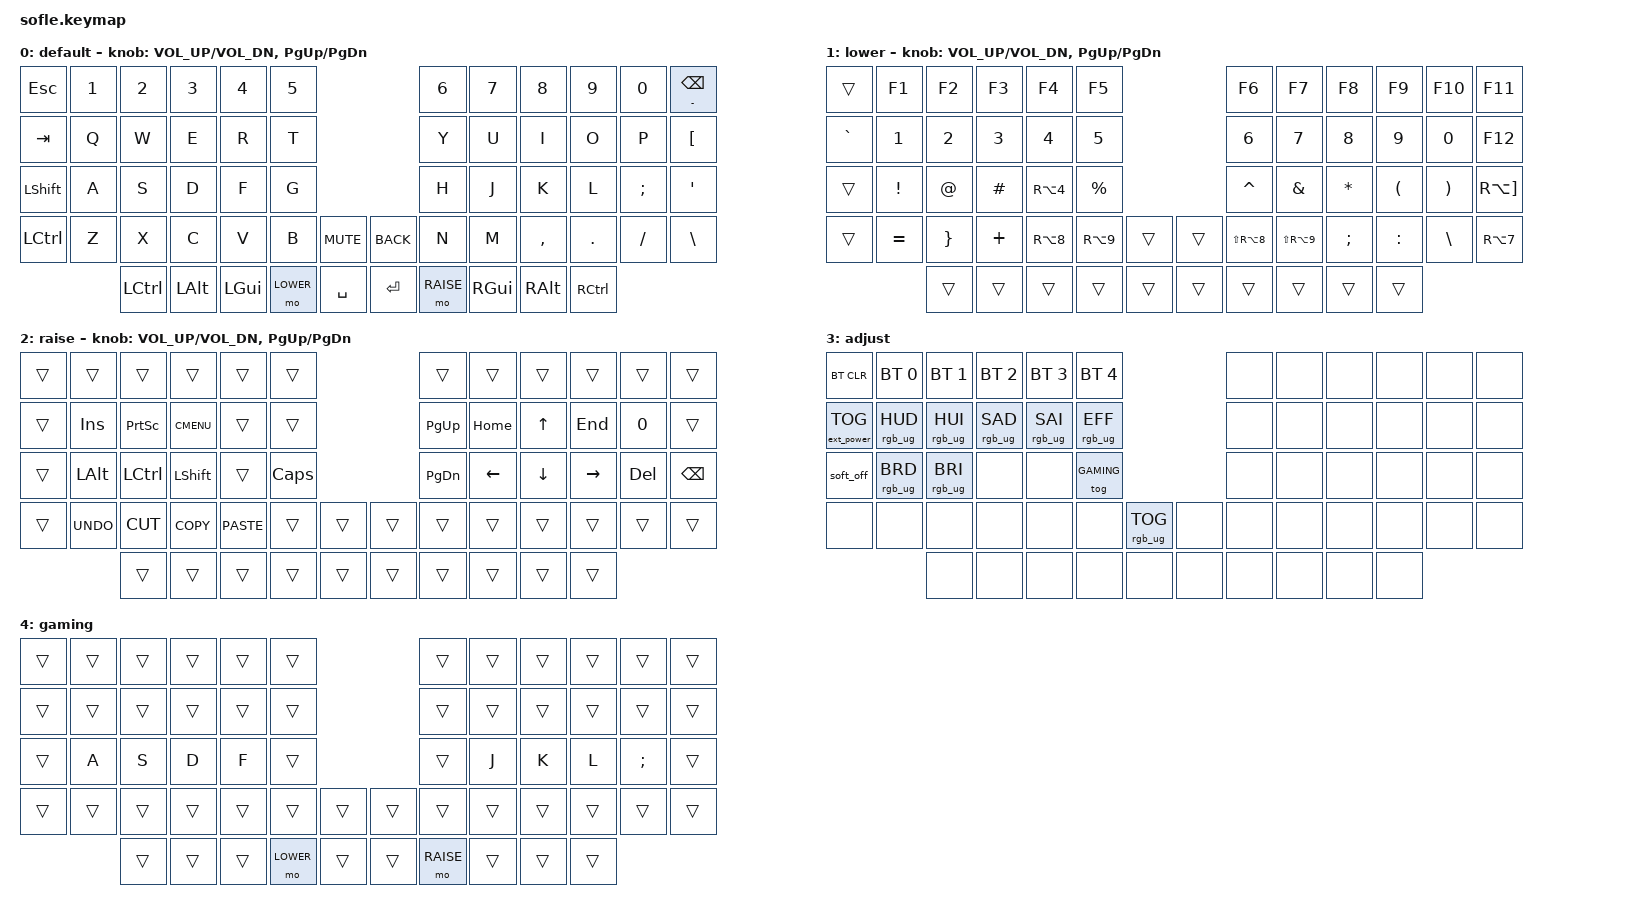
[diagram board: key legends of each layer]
/*
 * Copyright (c) 2020 The ZMK Contributors
 *
 * SPDX-License-Identifier: MIT
 */

#include <behaviors.dtsi>
#include <dt-bindings/zmk/keys.h>
#include <dt-bindings/zmk/bt.h>
#include <dt-bindings/zmk/rgb.h>
#include <dt-bindings/zmk/ext_power.h>

#define BASE 0
#define LOWER 1
#define RAISE 2
#define ADJUST 3
#define GAMING 4

#define POS_RAISE 52
#define POS_LOWER 55

/*            58 Keys Sofle v2
╭──────────────────╮     ╭──────────────────╮
│ 0  1  2  3  4  5 │     │  6  7  8  9 10 11│
│12 13 14 15 16 17 │     │ 18 19 20 21 22 23│
│24 25 26 27 28 29 │     │ 30 31 32 33 34 35│
│36 37 38 40 41 42 ╰─╮ ╭─╯ 43 44 45 46 47 48│
╰─────╮49 50 51 52 53│ │54 55 56 57 58╭─────╯
      ╰──────────────╯ ╰──────────────╯
*/

/ {

      behaviors {
        hml: home_row_mod_left {
            compatible = "zmk,behavior-hold-tap";
            #binding-cells = <2>;
            flavor = "balanced";
            require-prior-idle-ms = <0>;
            tapping-term-ms = <175>;
            quick-tap-ms = <200>;
            bindings = <&kp>, <&kp>;
            hold-trigger-key-positions = <40 41>; // List of keys on the right side of the keyboard
            hold-trigger-on-release;
        };
        hmr: home_row_mod_right {
            compatible = "zmk,behavior-hold-tap";
            #binding-cells = <2>;
            flavor = "balanced";
            require-prior-idle-ms = <0>;
            tapping-term-ms = <175>;
            quick-tap-ms = <200>;
            bindings = <&kp>, <&kp>;
            /* hold-trigger-key-positions = < ... >; // List of keys on the left side of the keyboard */
            hold-trigger-on-release;
        };
    };

   // Activate ADJUST layer by pressing raise and lower
    conditional_layers {
        compatible = "zmk,conditional-layers";
        adjust_layer {
            if-layers = <LOWER RAISE>;
            then-layer = <ADJUST>;
        };
    };


    keymap {
        compatible = "zmk,keymap";

        default_layer {
            display-name = "default";
// ------------------------------------------------------------------------------------------------------------
// | ESC   |  1  |  2  |  3  |  4  |  5    |                   |  6    |  7   |  8   |  9    |   0   |  +?   |
// | TAB   |  Q  |  W  |  E  |  R  |  T    |                   |  Y    |  U   |  I   |  O    |   P   |   Å   |
// | SHIFT |  A  |  S  |  D  |  F  |  G    |                   |  H    |  J   |  K   |  L    |   Ö   |   Ä   |
// | CTRL  |  Z  |  X  |  C  |  V  |  B    |  MUTE  |  | BACK  |  N    |  M   |  ,   |  .    |   -_  |  '*   |
//               | CTRL| ALT | GUI | LOWER |  SPACE |  | ENTER | RAISE | GUI  | ALT  | CTRL  |
            bindings = <
&kp ESC   &kp N1 &kp N2    &kp N3   &kp N4   &kp N5                            &kp N6    &kp N7   &kp N8    &kp N9    &kp  N0  &hmr MINUS BSPC
&kp TAB   &kp Q  &kp W     &kp E    &kp R    &kp T                             &kp Y     &kp U    &kp I     &kp O     &kp  P   &kp LBKT
&kp LSHFT &kp A  &kp S     &kp D    &kp F    &kp G                             &kp H     &kp J    &kp K     &kp L     &kp SEMI &kp SQT
&kp LCTRL &kp Z  &kp X     &kp C    &kp V    &kp B     &kp C_MUTE   &kp K_BACK &kp N     &kp M    &kp COMMA &kp DOT   &kp FSLH &kp  BSLH
                 &kp LCTRL &kp LALT &kp LGUI &mo LOWER &kp SPACE    &kp ENTER  &mo RAISE &kp RGUI &kp RALT  &kp RCTRL
            >;

            sensor-bindings = <&inc_dec_kp C_VOL_UP C_VOL_DN &inc_dec_kp PG_UP PG_DN>;
        };

        lower_layer {
            display-name = "lower";
// TODO: Some binds are waiting for shifted keycode support.
// ------------------------------------------------------------------------------------------------------------
// |       |  F1 |  F2 |  F3  |  F4  |  F5  |                   |  F6  |  F7   |  F8   |  F9  |  F10  |  F11  |
// |   `   |  1  |  2  |  3   |  4   |  5   |                   |  6   |  7    |  8    |  9   |   0   |  F12  |
// |       |  !  |  @  |  #   |  $   |  %   |                   |  &   |  /    |  (    |  )   |   =   |   ~   |
// |       |  ´  |  ^  |  `   |  {   |  }   |        |  |       |  [   |  ]    |  ;    |  :   |   \   |   |   |
//               |     |      |      |      |        |  |       |      |       |       |      |
            bindings = <
&trans    &kp F1    &kp F2    &kp F3   &kp F4     &kp F5                    &kp F6         &kp F7         &kp F8    &kp F9    &kp F10  &kp F11
&kp GRAVE &kp N1    &kp N2    &kp N3   &kp N4     &kp N5                    &kp N6         &kp N7         &kp N8    &kp N9    &kp N0   &kp F12
&trans    &kp EXCL  &kp AT    &kp HASH &kp RA(N4) &kp PRCNT                 &kp CARET      &kp AMPS       &kp ASTRK &kp LPAR  &kp RPAR &kp RA(RBKT)
&trans    &kp EQUAL &kp RBRC  &kp PLUS &kp RA(N8) &kp RA(N9) &trans &trans  &kp LS(RA(N8)) &kp LS(RA(N9)) &kp SEMI  &kp COLON &kp BSLH &kp RA(N7)
                    &trans    &trans   &trans     &trans     &trans &trans  &trans         &trans         &trans    &trans
            >;

            sensor-bindings = <&inc_dec_kp C_VOL_UP C_VOL_DN &inc_dec_kp PG_UP PG_DN>;
        };
        raise_layer {
            display-name = "raise";
// ------------------------------------------------------------------------------------------------------------
// | BTCLR | BT1  | BT2  |  BT3  |  BT4  |  BT5 |                |      |      |       |      |       |       |
// |       | INS  | PSCR | GUI   |       |      |                | PGUP |      |   ^   |      |       |       |
// |       | ALT  | CTRL | SHIFT |       | CAPS |                | PGDN |   <- |   v   |  ->  |  DEL  | BKSPC |
// |       | UNDO | CUT  | COPY  | PASTE |      |      |  |      |      |      |       |      |       |       |
//                |      |       |       |      |      |  |      |      |      |       |      |
            bindings = <
&trans     &trans       &trans       &trans       &trans       &trans                        &trans    &trans    &trans   &trans    &trans  &trans
&trans     &kp INS      &kp PSCRN    &kp K_CMENU  &trans       &trans                        &kp PG_UP &kp HOME  &kp UP   &kp END   &kp N0  &trans
&trans     &kp LALT     &kp LCTRL    &kp LSHFT    &trans       &kp CLCK                      &kp PG_DN &kp LEFT  &kp DOWN &kp RIGHT &kp DEL &kp BSPC
&trans     &kp K_UNDO   &kp K_CUT    &kp K_COPY   &kp K_PASTE  &trans        &trans  &trans  &trans    &trans    &trans   &trans    &trans  &trans
                        &trans       &trans       &trans       &trans        &trans  &trans  &trans    &trans    &trans   &trans
            >;

            sensor-bindings = <&inc_dec_kp C_VOL_UP C_VOL_DN &inc_dec_kp PG_UP PG_DN>;
        };

        adjust_layer {
// ----------------------------------------------------------------------------------------------------------------------------
// |        |         |         |         |         |         |                  |      |      |       |      |       |       |
// | EP_TOG | RGB_HUD | RGB_HUI | RGB_SAD | RGB_SAI | RGB_EFF |                  |      |      |       |      |       |       |
// |        | RGB_BRD | RGB_BRI |         |         | GAMING  |                  |      |      |       |      |       |       |
// |        |         |         |         |         |         | RGB_TOG | |      |      |      |       |      |       |       |
//                    |         |         |         |         |         | |      |      |      |       |      |
            display-name = "adjust";
            bindings = <
&bt        BT_CLR &bt     BT_SEL 0 &bt     BT_SEL 1 &bt     BT_SEL 2 &bt     BT_SEL 3 &bt     BT_SEL 4                        &none &none &none &none &none &none
&ext_power EP_TOG &rgb_ug RGB_HUD  &rgb_ug RGB_HUI  &rgb_ug RGB_SAD  &rgb_ug RGB_SAI  &rgb_ug RGB_EFF                         &none &none &none &none &none &none
&soft_off         &rgb_ug RGB_BRD  &rgb_ug RGB_BRI  &none            &none            &tog    GAMING                          &none &none &none &none &none &none
&none             &none            &none            &none            &none            &none            &rgb_ug RGB_TOG &none  &none &none &none &none &none &none
                                   &none            &none            &none            &none            &none           &none  &none &none &none &none
            >;
        };

        gaming_layer {
            display-name = "gaming";
// Same as Default but withut hold tap
            bindings = <
&trans &trans &trans &trans &trans &trans                 &trans &trans &trans &trans &trans   &trans
&trans &trans &trans &trans &trans &trans                 &trans &trans &trans &trans &trans   &trans
&trans &kp A  &kp S  &kp D  &kp F  &trans                 &trans &kp J  &kp K  &kp L  &kp SEMI &trans
&trans &trans &trans &trans &trans &trans &trans   &trans &trans &trans &trans &trans &trans   &trans 
              &trans &trans &trans &mo LOWER &trans   &trans &mo RAISE &trans &trans &trans 
            >;
        };
    };
};
